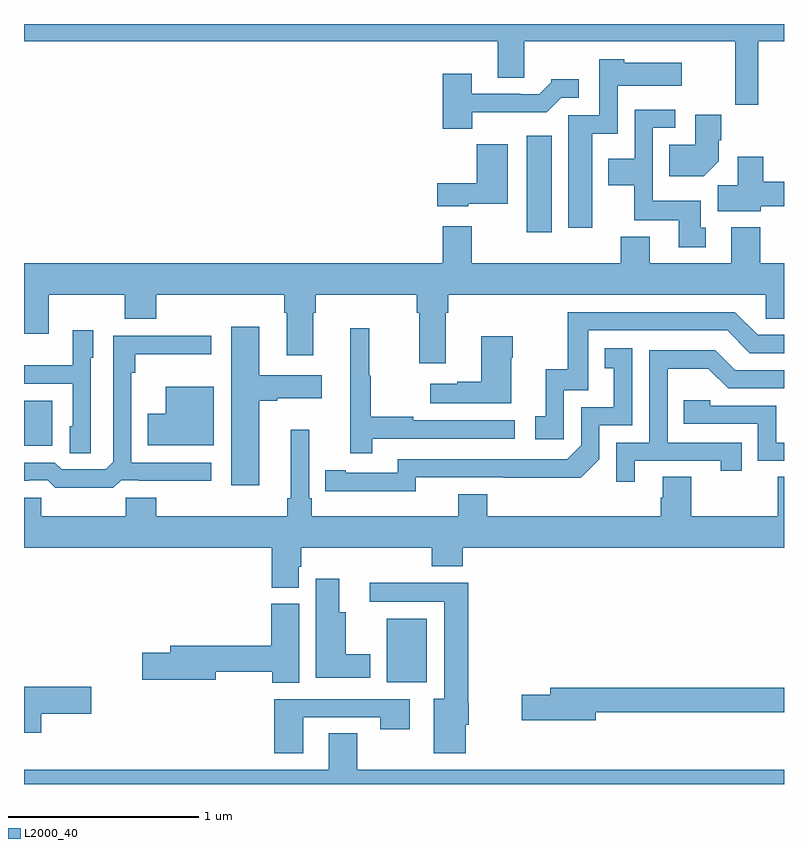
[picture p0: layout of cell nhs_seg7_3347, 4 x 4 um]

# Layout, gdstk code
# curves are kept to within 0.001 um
import gdstk
lib = gdstk.Library(unit=1e-6, precision=1e-09)
def R(c, l, rs):  # rectangles x0, y0, x1, y1
    for r in rs: c.add(gdstk.rectangle(r[:2], r[2:], *l))
def P(c, l, *ps):  # polygons
    for p in ps: c.add(gdstk.Polygon(p, *l))
L2000_40 = (2000, 40)

nhs_seg7_3347 = lib.new_cell('nhs_seg7_3347')
R(nhs_seg7_3347, L2000_40, [(324.908,1038.536,325.12,1038.871), (323,1039.781,323.149,1040.017), (325.646,1040.904,325.777,1041.412)])
P(nhs_seg7_3347, L2000_40, [(326.864,1041.908),(327,1041.908),(327,1042),(323,1042),(323,1041.908),(325.493,1041.908),(325.493,1041.718),(325.633,1041.718),(325.633,1041.908),(326.743,1041.908),(326.743,1041.576),(326.864,1041.576)],
  [(325.99,1041.422),(326.124,1041.422),(326.124,1041.674),(326.461,1041.674),(326.461,1041.796),(326.16,1041.796),(326.16,1041.814),(326.028,1041.814),(326.028,1041.519),(325.865,1041.519),(325.865,1040.928),(325.99,1040.928)],
  [(325.36,1041.536),(325.751,1041.536),(325.827,1041.612),(325.921,1041.612),(325.921,1041.709),(325.776,1041.709),(325.776,1041.694),(325.712,1041.63),(325.613,1041.63),(325.613,1041.633),(325.357,1041.633),(325.357,1041.739),(325.205,1041.739),(325.205,1041.449),(325.36,1041.449)],
  [(326.587,1040.928),(326.563,1040.928),(326.563,1041.07),(326.31,1041.07),(326.31,1041.453),(326.428,1041.453),(326.428,1041.549),(326.214,1041.549),(326.214,1041.292),(326.075,1041.292),(326.075,1041.152),(326.212,1041.152),(326.212,1040.966),(326.447,1040.966),(326.447,1040.826),(326.587,1040.826)],
  [(326.656,1041.278),(326.656,1041.388),(326.669,1041.388),(326.669,1041.523),(326.534,1041.523),(326.534,1041.364),(326.395,1041.364),(326.395,1041.2),(326.578,1041.2)],
  [(325.338,1041.053),(325.546,1041.053),(325.546,1041.367),(325.384,1041.367),(325.384,1041.163),(325.176,1041.163),(325.176,1041.041),(325.338,1041.041)],
  [(326.878,1041.042),(327,1041.042),(327,1041.17),(326.891,1041.17),(326.891,1041.301),(326.756,1041.301),(326.756,1041.152),(326.651,1041.152),(326.651,1041.014),(326.878,1041.014)],
  [(325.219,1040.48),(325.232,1040.48),(325.232,1040.576),(326.904,1040.576),(326.904,1040.449),(327,1040.449),(327,1040.74),(326.876,1040.74),(326.876,1040.929),(326.723,1040.929),(326.723,1040.74),(326.293,1040.74),(326.293,1040.881),(326.141,1040.881),(326.141,1040.74),(325.357,1040.74),(325.357,1040.935),(325.205,1040.935),(325.205,1040.74),(323,1040.74),(323,1040.37),(323.131,1040.37),(323.131,1040.576),(323.531,1040.576),(323.531,1040.448),(323.695,1040.448),(323.695,1040.576),(324.371,1040.576),(324.371,1040.48),(324.383,1040.48),(324.383,1040.256),(324.523,1040.256),(324.523,1040.48),(324.536,1040.48),(324.536,1040.576),(325.067,1040.576),(325.067,1040.48),(325.079,1040.48),(325.079,1040.214),(325.219,1040.214)],
  [(325.842,1040.073),(325.971,1040.073),(325.971,1040.388),(326.7,1040.388),(326.82,1040.268),(327,1040.268),(327,1040.364),(326.862,1040.364),(326.742,1040.484),(325.863,1040.484),(325.863,1040.182),(325.745,1040.182),(325.745,1039.935),(325.692,1039.935),(325.692,1039.815),(325.842,1039.815)],
  [(324.238,1040.018),(324.334,1040.018),(324.334,1040.03),(324.568,1040.03),(324.568,1040.152),(324.238,1040.152),(324.238,1040.407),(324.092,1040.407),(324.092,1039.572),(324.238,1039.572)],
  [(324.833,1039.818),(325.582,1039.818),(325.582,1039.914),(325.049,1039.914),(325.049,1039.934),(324.826,1039.934),(324.826,1040.148),(324.818,1040.148),(324.818,1040.398),(324.716,1040.398),(324.716,1039.74),(324.833,1039.74)],
  [(323.352,1040.244),(323.365,1040.244),(323.365,1040.389),(323.256,1040.389),(323.256,1040.203),(323,1040.203),(323,1040.106),(323.256,1040.106),(323.256,1039.884),(323.24,1039.884),(323.24,1039.741),(323.352,1039.741)],
  [(323.511,1039.599),(323.605,1039.599),(323.605,1039.595),(323.986,1039.595),(323.986,1039.692),(323.565,1039.692),(323.565,1040.165),(323.585,1040.165),(323.585,1040.261),(323.986,1040.261),(323.986,1040.358),(323.469,1040.358),(323.469,1039.695),(323.43,1039.656),(323.199,1039.656),(323.163,1039.692),(323,1039.692),(323,1039.595),(323.024,1039.595),(323.024,1039.599),(323.124,1039.599),(323.164,1039.56),(323.471,1039.56)],
  [(325.564,1040.243),(325.572,1040.243),(325.572,1040.356),(325.406,1040.356),(325.406,1040.117),(325.28,1040.117),(325.28,1040.107),(325.137,1040.107),(325.137,1040.003),(325.564,1040.003)],
  [(325.062,1039.614),(325.93,1039.613),(326.028,1039.71),(326.028,1039.887),(326.202,1039.887),(326.202,1040.293),(326.056,1040.293),(326.056,1040.187),(326.105,1040.187),(326.105,1039.983),(325.932,1039.983),(325.932,1039.782),(325.86,1039.71),(324.966,1039.71),(324.966,1039.638),(324.694,1039.638),(324.694,1039.651),(324.586,1039.651),(324.586,1039.542),(325.062,1039.541)],
  [(326.215,1039.701),(326.666,1039.701),(326.666,1039.65),(326.777,1039.65),(326.777,1039.797),(326.388,1039.797),(326.388,1040.186),(326.602,1040.186),(326.706,1040.082),(327,1040.082),(327,1040.178),(326.743,1040.178),(326.638,1040.283),(326.292,1040.283),(326.292,1039.797),(326.118,1039.797),(326.118,1039.59),(326.215,1039.59)],
  [(323.998,1040.092),(323.747,1040.092),(323.747,1039.95),(323.65,1039.95),(323.65,1039.784),(323.998,1039.784)],
  [(327,1039.797),(326.958,1039.797),(326.958,1039.992),(326.613,1039.992),(326.613,1040.019),(326.473,1040.019),(326.473,1039.896),(326.862,1039.896),(326.862,1039.701),(327,1039.701)],
  [(324.445,1039.143),(324.458,1039.143),(324.458,1039.244),(325.145,1039.244),(325.145,1039.145),(325.31,1039.145),(325.31,1039.244),(327,1039.244),(327,1039.616),(326.968,1039.616),(326.968,1039.408),(326.511,1039.408),(326.511,1039.616),(326.363,1039.616),(326.363,1039.506),(326.351,1039.506),(326.351,1039.408),(325.439,1039.408),(325.439,1039.525),(325.286,1039.525),(325.286,1039.408),(324.515,1039.408),(324.515,1039.504),(324.501,1039.504),(324.501,1039.864),(324.404,1039.864),(324.404,1039.504),(324.385,1039.504),(324.385,1039.408),(323.696,1039.408),(323.696,1039.506),(323.536,1039.506),(323.536,1039.408),(323.091,1039.408),(323.091,1039.506),(323,1039.506),(323,1039.244),(324.305,1039.244),(324.305,1039.033),(324.445,1039.033)],
  [(324.823,1038.682),(324.694,1038.682),(324.694,1038.904),(324.658,1038.904),(324.658,1039.081),(324.536,1039.081),(324.536,1038.56),(324.823,1038.56)],
  [(325.324,1038.312),(325.342,1038.312),(325.342,1038.426),(325.337,1038.426),(325.337,1039.058),(324.819,1039.058),(324.819,1038.96),(325.211,1038.96),(325.211,1038.448),(325.157,1038.448),(325.157,1038.162),(325.324,1038.162)],
  [(324.448,1038.948),(324.302,1038.948),(324.302,1038.728),(323.771,1038.728),(323.771,1038.692),(323.622,1038.692),(323.622,1038.55),(324.01,1038.55),(324.01,1038.592),(324.307,1038.592),(324.307,1038.532),(324.448,1038.532)],
  [(323.092,1038.37),(323.353,1038.37),(323.353,1038.512),(323,1038.512),(323,1038.269),(323.092,1038.269)],
  [(326.008,1038.378),(327,1038.378),(327,1038.506),(325.769,1038.506),(325.769,1038.47),(325.62,1038.47),(325.62,1038.335),(326.008,1038.335)],
  [(324.469,1038.351),(324.874,1038.351),(324.874,1038.288),(325.03,1038.288),(325.03,1038.447),(324.317,1038.447),(324.317,1038.162),(324.469,1038.162)],
  [(327,1038.076),(324.753,1038.076),(324.753,1038.266),(324.605,1038.266),(324.605,1038.076),(323,1038.076),(323,1038),(327,1038)])

lib.write_gds('nhs_seg7_3347.gds')
